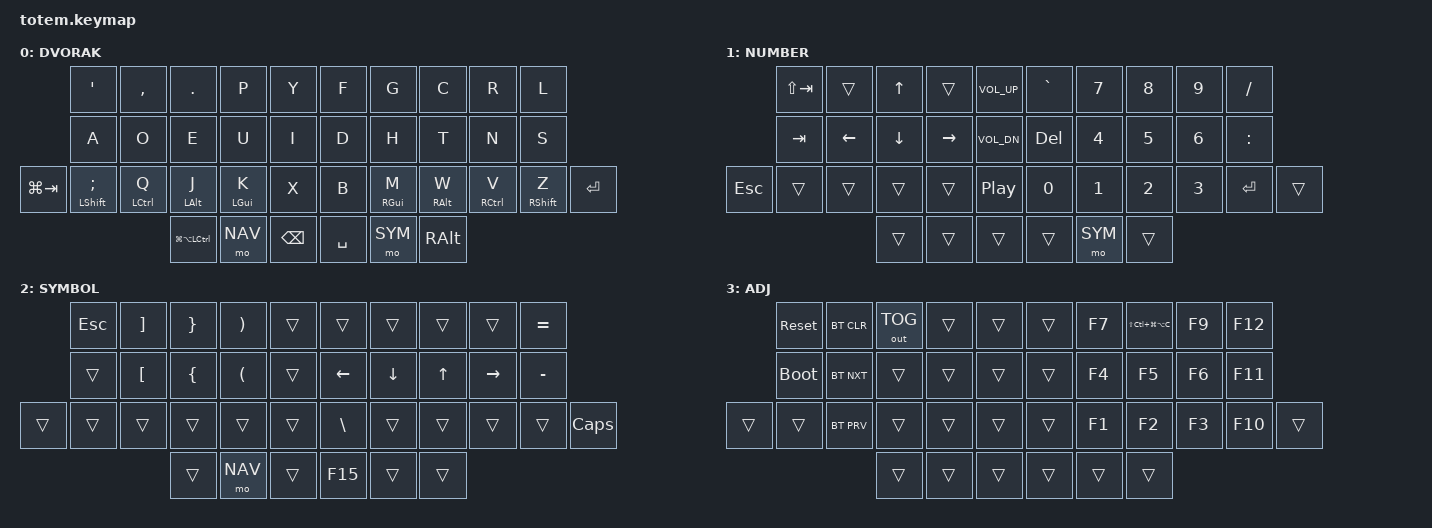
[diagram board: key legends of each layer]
//
//                                                        ▀▀▀▀▀     ▀▀▀▀▀          ▀▀█▀▀
//                                                        ▄▀▀▀▄  ▄  ▄▀▀▀▄  ▄  ▄▀▀▀▄  █  ▄▀▀▀▄
//                                                        █   █  █  █   █  █  █   █  █  █   █
//                                                         ▀▀▀   █   ▀▀▀   █   ▀▀▀   ▀   ▀▀▀
//                                                               █      ▄▄▄█▄▄▄    █   █  
//                                                               ▀      █  █  █     █▄█
//                                                             ▀▀▀▀▀    █  █  █      ▀
//                                                                      ▀  ▀  ▀
//
// ▄▄▄▄▄▄▄▄▄▄▄▄▄▄▄▄▄▄▄▄▄▄▄▄▄▄▄▄▄▄▄▄▄▄▄▄▄▄▄▄▄▄▄▄▄▄▄▄▄▄▄▄▄▄▄▄▄▄▄▄▄▄▄▄▄▄▄▄▄▄▄▄▄▄▄▄▄▄▄▄▄▄▄▄▄▄▄▄▄▄▄▄▄▄▄▄▄▄▄▄▄▄▄▄▄▄▄▄▄▄▄▄▄▄▄▄▄▄▄▄▄▄▄▄▄▄▄▄▄▄▄▄▄▄▄▄▄▄▄▄▄▄▄▄▄▄▄▄▄
       

#include <behaviors.dtsi>
#include <dt-bindings/zmk/keys.h>
#include <dt-bindings/zmk/bt.h>
#include <dt-bindings/zmk/outputs.h>

#define BASE 0
#define NAV  1
#define SYM  2
#define ADJ  3

&mt {
  quick-tap-ms = <100>;
  // global-quick-tap;
  flavor = "tap-preferred";
  tapping-term-ms = <180>;
};

/ {
     combos {
            compatible = "zmk,combos";
            combo_esc {
                timeout-ms = <50>;
                key-positions = <0 1>;
                bindings = <&kp ESC>;
            };
            combo_caps_word {
                timeout-ms = <50>;
                key-positions = <13 16>;
                bindings = <&caps_word>;
            };
    };
    conditional_layers {
        compatible = "zmk,conditional-layers";
        tri_layer {
            if-layers = <1 2>;
            then-layer = <3>;
        };
    };
    behaviors {
        win_swap: win_swapper {
            compatible = "zmk,behavior-tri-state";
            label = "WINSWAPPER";
            #binding-cells = <0>;
            bindings = <&kt LGUI>, <&kp GRAVE>, <&kt LGUI>;
        };
        app_swap: app_swapper {
            compatible = "zmk,behavior-tri-state";
            label = "APPSWAPPER";
            #binding-cells = <0>;
            bindings = <&kt LGUI>, <&kp TAB>, <&kt LGUI>;
        };
        bspc_word: backspace_word {
            compatible = "zmk,behavior-tap-dance";
            #binding-cells = <0>;
            tapping-term-ms = <200>;
            bindings = <&kp BSPC>, <&kp LA(BSPC)>;
        };
        hs_ht: hyper_s_hold_tap {
            compatible = "zmk,behavior-hold-tap";
            #binding-cells = <2>;
            tapping-term-ms = <180>;
            quick-tap-ms = <100>;
            flavor = "tap-preferred";
            bindings = <&kp>, <&kp>;
        };
    };

//             ┏━━━━━━━━━━━┳━━━━━━━━━━━┳━━━━━━━━━━━┳━━━━━━━━━━━┳━━━━━━━━━━━┓   ┏━━━━━━━━━━━┳━━━━━━━━━━━┳━━━━━━━━━━━┳━━━━━━━━━━━┳━━━━━━━━━━━┓
//             ┃     0     ┃     1     ┃     2     ┃     3     ┃     4     ┃   ┃     5     ┃     6     ┃     7     ┃     8     ┃     9     ┃
//             ┣━━━━━━━━━━━╋━━━━━━━━━━━╋━━━━━━━━━━━╋━━━━━━━━━━━╋━━━━━━━━━━━┫   ┣━━━━━━━━━━━╋━━━━━━━━━━━╋━━━━━━━━━━━╋━━━━━━━━━━━╋━━━━━━━━━━━┫
//             ┃     10    ┃     11    ┃     12    ┃     13    ┃     14    ┃   ┃     15    ┃     16    ┃     17    ┃     18    ┃     19    ┃
// ┏━━━━━━━━━━━╋━━━━━━━━━━━╋━━━━━━━━━━━╋━━━━━━━━━━━╋━━━━━━━━━━━╋━━━━━━━━━━━┫   ┣━━━━━━━━━━━╋━━━━━━━━━━━╋━━━━━━━━━━━╋━━━━━━━━━━━╋━━━━━━━━━━━╋━━━━━━━━━━━┓
// ┃     20    ┃     21    ┃     22    ┃     23    ┃     24    ┃     25    ┃   ┃     26    ┃     27    ┃     28    ┃     29    ┃     30    ┃     31    ┃
// ┗━━━━━━━━━━━┻━━━━━━━━━━━┻━━━━━━━━━━━╋━━━━━━━━━━━╋━━━━━━━━━━━╋━━━━━━━━━━━┫   ┣━━━━━━━━━━━╋━━━━━━━━━━━╋━━━━━━━━━━━╋━━━━━━━━━━━┻━━━━━━━━━━━┻━━━━━━━━━━━┛
//                                     ┃     32    ┃     33    ┃     34    ┃   ┃     35    ┃     36    ┃     37    ┃
//                                     ┗━━━━━━━━━━━┻━━━━━━━━━━━┻━━━━━━━━━━━┛   ┗━━━━━━━━━━━┻━━━━━━━━━━━┻━━━━━━━━━━━┛
    keymap {
        compatible = "zmk,keymap";
// ▄▄▄▄▄▄▄▄▄▄▄▄▄▄▄▄▄▄▄▄▄▄▄▄▄▄▄▄▄▄▄▄▄▄▄▄▄▄▄▄▄▄▄▄▄▄▄▄▄▄▄▄▄▄▄▄▄▄▄▄▄▄▄▄▄▄▄▄▄▄▄▄▄▄▄▄▄▄▄▄▄▄▄▄▄▄▄▄▄▄▄▄▄▄▄▄▄▄▄▄▄▄▄▄▄▄▄▄▄▄▄▄▄▄▄▄▄▄▄▄▄▄▄▄▄▄▄▄▄▄▄▄▄▄▄▄▄▄▄▄▄▄▄▄▄▄▄▄▄

                base_layer {
// ┏━━━━━━━━━━━━━━━━━━━━━━━━━━━━━━━━━━━━━━━┓
label= "BASE"                              ;
display-name = "DVORAK"                              ;
// ┗━━━━━━━━━━━━━━━━━━━━━━━━━━━━━━━━━━━━━━━┛
//             ┏━━━━━━━━━━━┳━━━━━━━━━━━┳━━━━━━━━━━━┳━━━━━━━━━━━┳━━━━━━━━━━━┓   ┏━━━━━━━━━━━┳━━━━━━━━━━━┳━━━━━━━━━━━┳━━━━━━━━━━━┳━━━━━━━━━━━┓
//             ┃     '     ┃     ,     ┃     .     ┃     P     ┃     Y     ┃   ┃     F     ┃     G     ┃     C     ┃     R     ┃     L     ┃
//             ┣━━━━━━━━━━━╋━━━━━━━━━━━╋━━━━━━━━━━━╋━━━━━━━━━━━╋━━━━━━━━━━━┫   ┣━━━━━━━━━━━╋━━━━━━━━━━━╋━━━━━━━━━━━╋━━━━━━━━━━━╋━━━━━━━━━━━┫
//             ┃     A     ┃     O     ┃     E     ┃     U     ┃     I     ┃   ┃     D     ┃     H     ┃     T     ┃     N     ┃     S     ┃
// ┏━━━━━━━━━━━╋━━━━━━━━━━━╋━━━━━━━━━━━╋━━━━━━━━━━━╋━━━━━━━━━━━╋━━━━━━━━━━━┫   ┣━━━━━━━━━━━╋━━━━━━━━━━━╋━━━━━━━━━━━╋━━━━━━━━━━━╋━━━━━━━━━━━╋━━━━━━━━━━━┓
// ┃  CMD TAB  ┃     ;     ┃     Q     ┃     J     ┃     K     ┃     X     ┃   ┃     B     ┃     M     ┃     W     ┃     V     ┃     Z     ┃   ENTER   ┃
// ┗━━━━━━━━━━━┻━━━━━━━━━━━┻━━━━━━━━━━━╋━━━━━━━━━━━╋━━━━━━━━━━━╋━━━━━━━━━━━┫   ┣━━━━━━━━━━━╋━━━━━━━━━━━╋━━━━━━━━━━━╋━━━━━━━━━━━┻━━━━━━━━━━━┻━━━━━━━━━━━┛
//                                     ┃ CMDOPTCTL ┃    NAV    ┃    BSPC   ┃   ┃   SPACE   ┃    SYM    ┃   R OPT   ┃
//                                     ┗━━━━━━━━━━━┻━━━━━━━━━━━┻━━━━━━━━━━━┛   ┗━━━━━━━━━━━┻━━━━━━━━━━━┻━━━━━━━━━━━┛
 bindings = <
// ╷           ╷              ╷           ╷           ╷           ╷           ╷   ╷           ╷           ╷           ╷           ╷           ╷           ╷

                &kp SQT        &kp COMMA   &kp DOT     &kp P       &kp Y           &kp F       &kp G       &kp C       &kp R       &kp L
                &kp A          &kp O       &kp E       &kp U       &kp I           &kp D       &kp H       &kp T       &kp N       &kp S
    &kp LG(TAB)      &mt LSHFT SEMI &mt LCTRL Q &mt LALT J  &mt LGUI K  &kp X           &kp B       &mt RGUI M  &mt RALT W  &mt RCTRL V &mt RSHFT Z &kp ENTER
                                    &kp LG(LA(LCTRL))   &mo NAV     &kp BSPC        &kp SPACE   &mo SYM     &kp RALT
                        >;
                };

// ▄▄▄▄▄▄▄▄▄▄▄▄▄▄▄▄▄▄▄▄▄▄▄▄▄▄▄▄▄▄▄▄▄▄▄▄▄▄▄▄▄▄▄▄▄▄▄▄▄▄▄▄▄▄▄▄▄▄▄▄▄▄▄▄▄▄▄▄▄▄▄▄▄▄▄▄▄▄▄▄▄▄▄▄▄▄▄▄▄▄▄▄▄▄▄▄▄▄▄▄▄▄▄▄▄▄▄▄▄▄▄▄▄▄▄▄▄▄▄▄▄▄▄▄▄▄▄▄▄▄▄▄▄▄▄▄▄▄▄▄▄▄▄▄▄▄▄▄▄


                nav_layer {
// ┏━━━━━━━━━━━━━━━━━━━━━━━━━━━━━━━━━━━━━━━┓
label= "NAV"                              ;
display-name = "NUMBER"                              ;
// ┗━━━━━━━━━━━━━━━━━━━━━━━━━━━━━━━━━━━━━━━┛
//             ┏━━━━━━━━━━━┳━━━━━━━━━━━┳━━━━━━━━━━━┳━━━━━━━━━━━┳━━━━━━━━━━━┓   ┏━━━━━━━━━━━┳━━━━━━━━━━━┳━━━━━━━━━━━┳━━━━━━━━━━━┳━━━━━━━━━━━┓
//             ┃   RTAB    ┃           ┃     UP    ┃           ┃   VOL+    ┃   ┃     `     ┃     7     ┃     8     ┃     9     ┃     /     ┃
//             ┣━━━━━━━━━━━╋━━━━━━━━━━━╋━━━━━━━━━━━╋━━━━━━━━━━━╋━━━━━━━━━━━┫   ┣━━━━━━━━━━━╋━━━━━━━━━━━╋━━━━━━━━━━━╋━━━━━━━━━━━╋━━━━━━━━━━━┫
//             ┃   TAB     ┃   LEFT    ┃    DOWN   ┃   RIGHT   ┃   VOL-    ┃   ┃    DEL    ┃     4     ┃     5     ┃     6     ┃     :     ┃
// ┏━━━━━━━━━━━╋━━━━━━━━━━━╋━━━━━━━━━━━╋━━━━━━━━━━━╋━━━━━━━━━━━╋━━━━━━━━━━━┫   ┣━━━━━━━━━━━╋━━━━━━━━━━━╋━━━━━━━━━━━╋━━━━━━━━━━━╋━━━━━━━━━━━╋━━━━━━━━━━━┓
// ┃    ESC    ┃           ┃           ┃           ┃           ┃   PLAY    ┃   ┃     0     ┃     1     ┃     2     ┃     3     ┃   ENTER   ┃           ┃
// ┗━━━━━━━━━━━┻━━━━━━━━━━━┻━━━━━━━━━━━╋━━━━━━━━━━━╋━━━━━━━━━━━╋━━━━━━━━━━━┫   ┣━━━━━━━━━━━╋━━━━━━━━━━━╋━━━━━━━━━━━╋━━━━━━━━━━━┻━━━━━━━━━━━┻━━━━━━━━━━━┛
//                                     ┃           ┃           ┃    BSPC   ┃   ┃   SPACE   ┃    ADJ    ┃           ┃
//                                     ┗━━━━━━━━━━━┻━━━━━━━━━━━┻━━━━━━━━━━━┛   ┗━━━━━━━━━━━┻━━━━━━━━━━━┻━━━━━━━━━━━┛
 bindings = <
// ╷           ╷           ╷           ╷           ╷           ╷           ╷   ╷           ╷           ╷           ╷           ╷           ╷           ╷

                &kp LS(TAB) &trans      &kp UP      &trans      &kp C_VOL_UP    &kp GRAVE   &kp N7      &kp N8      &kp N9      &kp SLASH
                &kp TAB     &kp LEFT    &kp DOWN    &kp RIGHT   &kp C_VOL_DN    &kp DEL     &kp N4      &kp N5      &kp N6      &kp COLON
    &kp ESC     &trans      &trans      &trans      &trans      &kp C_PP        &kp N0      &kp N1      &kp N2      &kp N3      &kp ENTER   &trans      
                                        &trans      &trans      &trans          &trans      &mo SYM     &trans
                        >;
                };

// ▄▄▄▄▄▄▄▄▄▄▄▄▄▄▄▄▄▄▄▄▄▄▄▄▄▄▄▄▄▄▄▄▄▄▄▄▄▄▄▄▄▄▄▄▄▄▄▄▄▄▄▄▄▄▄▄▄▄▄▄▄▄▄▄▄▄▄▄▄▄▄▄▄▄▄▄▄▄▄▄▄▄▄▄▄▄▄▄▄▄▄▄▄▄▄▄▄▄▄▄▄▄▄▄▄▄▄▄▄▄▄▄▄▄▄▄▄▄▄▄▄▄▄▄▄▄▄▄▄▄▄▄▄▄▄▄▄▄▄▄▄▄▄▄▄▄▄▄▄


                sim_layer {
// ┏━━━━━━━━━━━━━━━━━━━━━━━━━━━━━━━━━━━━━━━┓
label= "SYM"                               ;
display-name = "SYMBOL"                               ;
// ┗━━━━━━━━━━━━━━━━━━━━━━━━━━━━━━━━━━━━━━━┛
//             ┏━━━━━━━━━━━┳━━━━━━━━━━━┳━━━━━━━━━━━┳━━━━━━━━━━━┳━━━━━━━━━━━┓   ┏━━━━━━━━━━━┳━━━━━━━━━━━┳━━━━━━━━━━━┳━━━━━━━━━━━┳━━━━━━━━━━━┓
//             ┃    ESC    ┃     ]     ┃     }     ┃     )     ┃           ┃   ┃           ┃           ┃           ┃           ┃     =     ┃
//             ┣━━━━━━━━━━━╋━━━━━━━━━━━╋━━━━━━━━━━━╋━━━━━━━━━━━╋━━━━━━━━━━━┫   ┣━━━━━━━━━━━╋━━━━━━━━━━━╋━━━━━━━━━━━╋━━━━━━━━━━━╋━━━━━━━━━━━┫
//             ┃           ┃     [     ┃     {     ┃     (     ┃           ┃   ┃   LEFT    ┃   DOWN    ┃    UP     ┃  RIGHT    ┃     -     ┃
// ┏━━━━━━━━━━━╋━━━━━━━━━━━╋━━━━━━━━━━━╋━━━━━━━━━━━╋━━━━━━━━━━━╋━━━━━━━━━━━┫   ┣━━━━━━━━━━━╋━━━━━━━━━━━╋━━━━━━━━━━━╋━━━━━━━━━━━╋━━━━━━━━━━━╋━━━━━━━━━━━┓
// ┃           ┃           ┃           ┃           ┃           ┃           ┃   ┃     \     ┃           ┃           ┃           ┃           ┃ CAPSLOCK  ┃
// ┗━━━━━━━━━━━┻━━━━━━━━━━━┻━━━━━━━━━━━╋━━━━━━━━━━━╋━━━━━━━━━━━╋━━━━━━━━━━━┫   ┣━━━━━━━━━━━╋━━━━━━━━━━━╋━━━━━━━━━━━╋━━━━━━━━━━━┻━━━━━━━━━━━┻━━━━━━━━━━━┛
//                                     ┃           ┃    ADJ    ┃           ┃   ┃    F15    ┃           ┃           ┃
//                                     ┗━━━━━━━━━━━┻━━━━━━━━━━━┻━━━━━━━━━━━┛   ┗━━━━━━━━━━━┻━━━━━━━━━━━┻━━━━━━━━━━━┛
 bindings = <
// ╷           ╷           ╷           ╷           ╷           ╷           ╷   ╷           ╷           ╷           ╷           ╷           ╷           ╷

                &kp ESC     &kp RBKT    &kp RBRC    &kp RPAR    &trans          &trans      &trans      &trans      &trans      &kp EQUAL
                &trans      &kp LBKT    &kp LBRC    &kp LPAR    &trans          &kp LEFT    &kp DOWN    &kp UP      &kp RIGHT   &kp MINUS
    &trans      &trans      &trans      &trans      &trans      &trans          &kp BSLH    &trans      &trans      &trans      &trans      &kp CAPSLOCK
                                        &trans      &mo NAV     &trans          &kp F15     &trans      &trans
                        >;
                };

// ▄▄▄▄▄▄▄▄▄▄▄▄▄▄▄▄▄▄▄▄▄▄▄▄▄▄▄▄▄▄▄▄▄▄▄▄▄▄▄▄▄▄▄▄▄▄▄▄▄▄▄▄▄▄▄▄▄▄▄▄▄▄▄▄▄▄▄▄▄▄▄▄▄▄▄▄▄▄▄▄▄▄▄▄▄▄▄▄▄▄▄▄▄▄▄▄▄▄▄▄▄▄▄▄▄▄▄▄▄▄▄▄▄▄▄▄▄▄▄▄▄▄▄▄▄▄▄▄▄▄▄▄▄▄▄▄▄▄▄▄▄▄▄▄▄▄▄▄▄


                adjust_layer {
// ┏━━━━━━━━━━━━━━━━━━━━━━━━━━━━━━━━━━━━━━━┓
label= "ADJ"                               ;
display-name = "ADJ"                               ;
// ┗━━━━━━━━━━━━━━━━━━━━━━━━━━━━━━━━━━━━━━━┛
//             ┏━━━━━━━━━━━┳━━━━━━━━━━━┳━━━━━━━━━━━┳━━━━━━━━━━━┳━━━━━━━━━━━┓   ┏━━━━━━━━━━━┳━━━━━━━━━━━┳━━━━━━━━━━━┳━━━━━━━━━━━┳━━━━━━━━━━━┓
//             ┃   RESET   ┃ BT CLEAR  ┃  OUT TOG  ┃           ┃           ┃   ┃           ┃    F7     ┃  HYPER C  ┃    F9     ┃    F12    ┃
//             ┣━━━━━━━━━━━╋━━━━━━━━━━━╋━━━━━━━━━━━╋━━━━━━━━━━━╋━━━━━━━━━━━┫   ┣━━━━━━━━━━━╋━━━━━━━━━━━╋━━━━━━━━━━━╋━━━━━━━━━━━╋━━━━━━━━━━━┫
//             ┃ BOOTLOAD  ┃ BT NEXT   ┃           ┃           ┃           ┃   ┃           ┃    F4     ┃    F5     ┃    F6     ┃    F11    ┃
// ┏━━━━━━━━━━━╋━━━━━━━━━━━╋━━━━━━━━━━━╋━━━━━━━━━━━╋━━━━━━━━━━━╋━━━━━━━━━━━┫   ┣━━━━━━━━━━━╋━━━━━━━━━━━╋━━━━━━━━━━━╋━━━━━━━━━━━╋━━━━━━━━━━━╋━━━━━━━━━━━┓
// ┃           ┃           ┃ BT PREV   ┃           ┃           ┃           ┃   ┃           ┃    F1     ┃    F2     ┃    F3     ┃    F10    ┃           ┃
// ┗━━━━━━━━━━━┻━━━━━━━━━━━┻━━━━━━━━━━━╋━━━━━━━━━━━╋━━━━━━━━━━━╋━━━━━━━━━━━┫   ┣━━━━━━━━━━━╋━━━━━━━━━━━╋━━━━━━━━━━━╋━━━━━━━━━━━┻━━━━━━━━━━━┻━━━━━━━━━━━┛
//                                     ┃           ┃           ┃           ┃   ┃           ┃           ┃           ┃
//                                     ┗━━━━━━━━━━━┻━━━━━━━━━━━┻━━━━━━━━━━━┛   ┗━━━━━━━━━━━┻━━━━━━━━━━━┻━━━━━━━━━━━┛
 bindings = <
// ╷           ╷           ╷           ╷           ╷           ╷           ╷   ╷           ╷           ╷           ╷           ╷           ╷           ╷

                &sys_reset  &bt BT_CLR &out OUT_TOG &trans      &trans          &trans      &kp F7 &kp LS(LC(LG(LA(C)))) &kp F9      &kp F12
                &bootloader &bt BT_NXT  &trans      &trans      &trans          &trans      &kp F4      &kp F5      &kp F6      &kp F11  
    &trans      &trans      &bt BT_PRV  &trans      &trans      &trans          &trans      &kp F1      &kp F2      &kp F3      &kp F10     &trans         
                                        &trans      &trans      &trans          &trans      &trans      &trans      
                        >;
                };

        };
};
